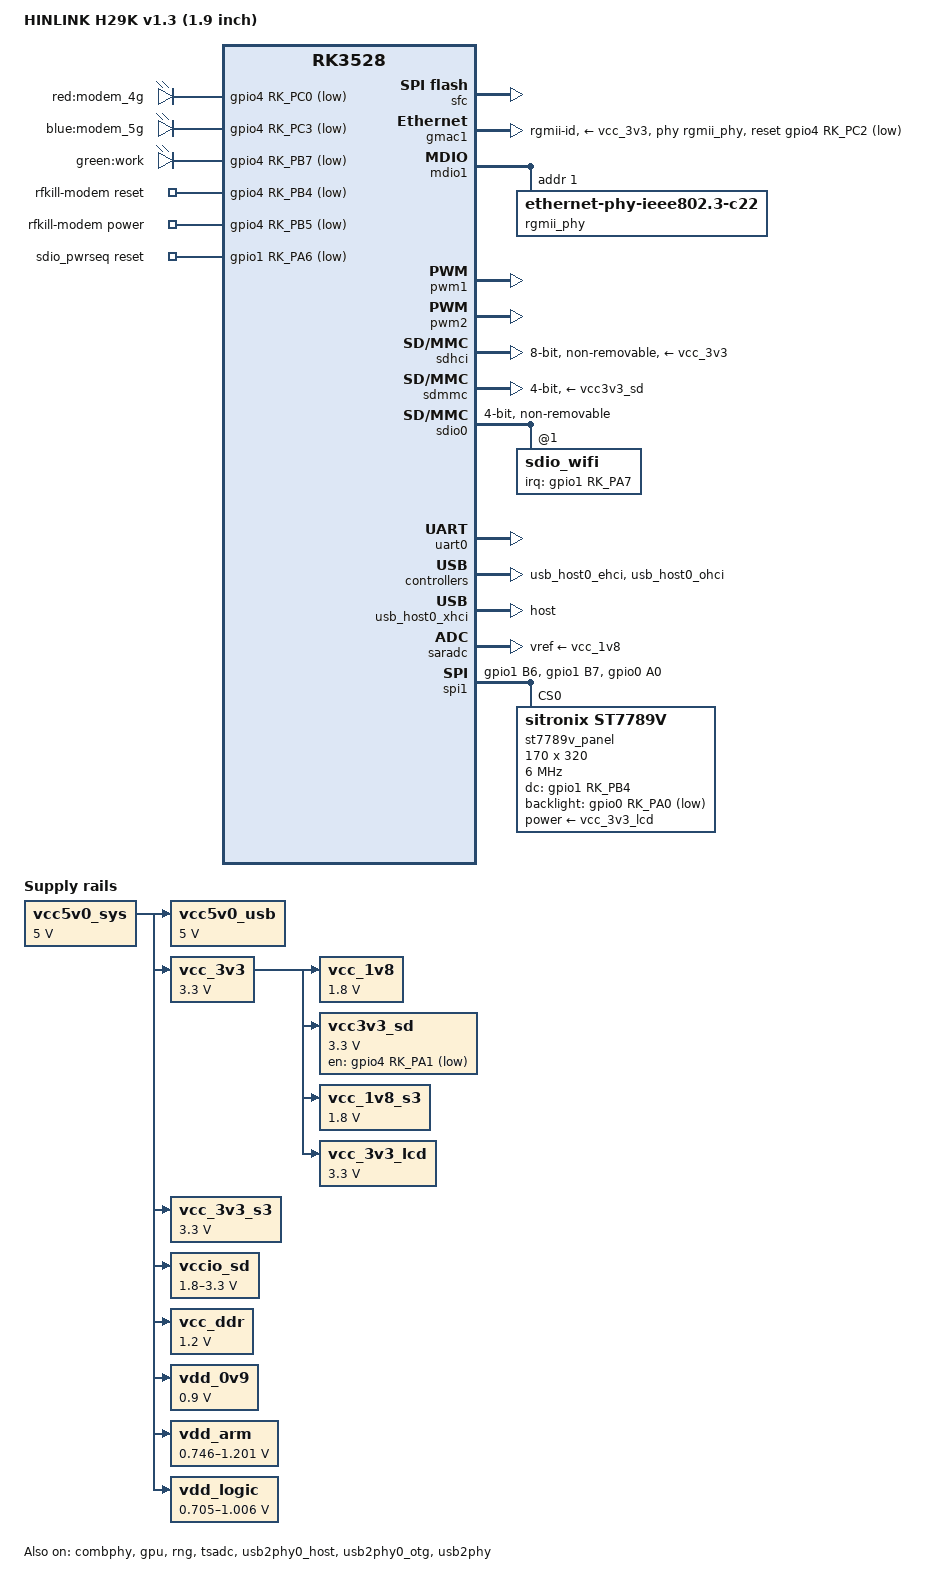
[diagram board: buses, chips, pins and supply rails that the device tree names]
// SPDX-License-Identifier: (GPL-2.0+ OR MIT)

/dts-v1/;
#include <dt-bindings/gpio/gpio.h>
#include <dt-bindings/pinctrl/rockchip.h>

#include "rk3528.dtsi"

/ {
	model = "HINLINK H29K v1.3 (1.9 inch)";
	// 屏幕: 1.9"  170x320 rot270
	// 屏幕: 1.9"  170x320
	compatible = "hinlink,h29k-v1.3", "rockchip,rk3528";

	aliases {
		mmc0 = &sdhci;
		mmc1 = &sdmmc;
		mmc2 = &sdio0;
		ethernet0 = &gmac1;

		led-boot = &led_work;
		led-failsafe = &led_work;
		led-running = &led_work;
		led-upgrade = &led_work;
	};

	chosen {
		stdout-path = "serial0:1500000n8";
	};

	leds {
		compatible = "gpio-leds";
		pinctrl-names = "default";
		pinctrl-0 = <&modem_4g_led>,<&modem_5g_led>, <&work_led_en>;

		modem_4g: modem_4g {
			label = "red:modem_4g";
			gpios = <&gpio4 RK_PC0 GPIO_ACTIVE_LOW>;
		};

		modem_5g: modem_5g {
			label = "blue:modem_5g";
			gpios = <&gpio4 RK_PC3 GPIO_ACTIVE_LOW>;
		};

		led_work: work {
			label = "green:work";
			gpios = <&gpio4 RK_PB7 GPIO_ACTIVE_LOW>;
		};
	};



	rfkill-modem {
		compatible = "rfkill-gpio";
		name = "rfkill-modem";
		type = "wwan";
		reset-gpios = <&gpio4 RK_PB4 GPIO_ACTIVE_LOW>;
		power-gpios = <&gpio4 RK_PB5 GPIO_ACTIVE_LOW>; 
	};


	vcc5v0_sys: vcc5v0-sys {
		compatible = "regulator-fixed";
		regulator-name = "vcc5v0_sys";
		regulator-always-on;
		regulator-boot-on;
		regulator-min-microvolt = <5000000>;
		regulator-max-microvolt = <5000000>;
	};
	
	vcc5v0_usb: vcc5v0-usb {
		compatible = "regulator-fixed";
		regulator-name = "vcc5v0_usb";
		regulator-always-on;
		regulator-boot-on;
		regulator-min-microvolt = <5000000>;
		regulator-max-microvolt = <5000000>;
		vin-supply = <&vcc5v0_sys>;
	};

	vcc_3v3: vcc-3v3 {
		compatible = "regulator-fixed";
		regulator-name = "vcc_3v3";
		regulator-always-on;
		regulator-boot-on;
		regulator-min-microvolt = <3300000>;
		regulator-max-microvolt = <3300000>;
		vin-supply = <&vcc5v0_sys>;
	};

	vcc_1v8: vcc-1v8 {
		compatible = "regulator-fixed";
		regulator-name = "vcc_1v8";
		regulator-always-on;
		regulator-boot-on;
		regulator-min-microvolt = <1800000>;
		regulator-max-microvolt = <1800000>;
		vin-supply = <&vcc_3v3>;
	};

	vcc3v3_sd: vcc3v3-sd {
		compatible = "regulator-fixed";
		gpio = <&gpio4 RK_PA1 GPIO_ACTIVE_LOW>;
		regulator-name = "vcc3v3_sd";
		regulator-always-on;
		regulator-boot-on;
		regulator-min-microvolt = <3300000>;
		regulator-max-microvolt = <3300000>;
		vin-supply = <&vcc_3v3>;
	};
	
	vcc_3v3_s3: vcc-3v3-s3 {
		compatible = "regulator-fixed";
		regulator-name = "vcc_3v3_s3";
		regulator-always-on;
		regulator-boot-on;
		regulator-min-microvolt = <3300000>;
		regulator-max-microvolt = <3300000>;
		vin-supply = <&vcc5v0_sys>;
	};

	vcc_1v8_s3: vcc-1v8-s3 {
		compatible = "regulator-fixed";
		regulator-name = "vcc_1v8_s3";
		regulator-always-on;
		regulator-boot-on;
		regulator-min-microvolt = <1800000>;
		regulator-max-microvolt = <1800000>;
		vin-supply = <&vcc_3v3>;
	};

	vcc_3v3_lcd: vcc-3v3-lcd {
		compatible = "regulator-fixed";
		regulator-name = "vcc_3v3_lcd";
		regulator-min-microvolt = <3300000>;
		regulator-max-microvolt = <3300000>;
		vin-supply = <&vcc_3v3>;
	};

	vccio_sd: vccio-sd {
		compatible = "regulator-gpio";
		gpios = <&gpio4 RK_PB6 GPIO_ACTIVE_HIGH>;
		regulator-name = "vccio_sd";
		regulator-min-microvolt = <1800000>;
		regulator-max-microvolt = <3300000>;
		states = <1800000 0x0>, <3300000 0x1>;
		vin-supply = <&vcc5v0_sys>;
	};

	vcc_ddr: vcc-ddr {
		compatible = "regulator-fixed";
		regulator-name = "vcc_ddr";
		regulator-always-on;
		regulator-boot-on;
		regulator-min-microvolt = <1200000>;
		regulator-max-microvolt = <1200000>;
		vin-supply = <&vcc5v0_sys>;
	};

	vdd_0v9: vdd-0v9 {
		compatible = "regulator-fixed";
		regulator-name = "vdd_0v9";
		regulator-always-on;
		regulator-boot-on;
		regulator-min-microvolt = <900000>;
		regulator-max-microvolt = <900000>;
		vin-supply = <&vcc5v0_sys>;
	};

	vdd_arm: vdd-arm {
		compatible = "pwm-regulator";
		pwms = <&pwm1 0 5000 1>;
		regulator-name = "vdd_arm";
		regulator-min-microvolt = <746000>;
		regulator-max-microvolt = <1201000>;
		regulator-always-on;
		regulator-boot-on;
		regulator-settling-time-up-us = <250>;
		pwm-supply = <&vcc5v0_sys>;
	};

	vdd_logic: vdd-logic {
		compatible = "pwm-regulator";
		pwms = <&pwm2 0 5000 1>;
		regulator-name = "vdd_logic";
		regulator-min-microvolt = <705000>;
		regulator-max-microvolt = <1006000>;
		regulator-always-on;
		regulator-boot-on;
		regulator-settling-time-up-us = <250>;
		pwm-supply = <&vcc5v0_sys>;
	};

	sdio_pwrseq: sdio-pwrseq {
		compatible = "mmc-pwrseq-simple";
		pinctrl-names = "default";
		pinctrl-0 = <&wifi_enable_h>;
		reset-gpios = <&gpio1 RK_PA6 GPIO_ACTIVE_LOW>;
	};
};

&combphy {
	status = "okay";
};

&cpu0 {
	cpu-supply = <&vdd_arm>;
};

&cpu1 {
	cpu-supply = <&vdd_arm>;
};

&cpu2 {
	cpu-supply = <&vdd_arm>;
};

&cpu3 {
	cpu-supply = <&vdd_arm>;
};

&sfc {
	status = "okay";
};

&gmac1 {
	clock_in_out = "output";
	pinctrl-names = "default";
	pinctrl-0 = <&rgmii_miim
		     &rgmii_tx_bus2
		     &rgmii_rx_bus2
		     &rgmii_rgmii_clk
		     &rgmii_rgmii_bus>;
	phy-handle = <&rgmii_phy>;
	phy-mode = "rgmii-id";
	phy-supply = <&vcc_3v3>;
	snps,reset-active-low;
	snps,reset-delays-us = <0 20000 100000>;
	snps,reset-gpio = <&gpio4 RK_PC2 GPIO_ACTIVE_LOW>;
	status = "okay";
};

&gpu {
	mali-supply = <&vdd_logic>;
	status = "okay";
};

&mdio1 {
	rgmii_phy: phy@1 {
		compatible = "ethernet-phy-ieee802.3-c22";
		reg = <0x1>;
	};
};

&pinctrl {
	leds {

		work_led_en: led-work-en {
			rockchip,pins = <4 RK_PB7 RK_FUNC_GPIO &pcfg_pull_none>;
		};

		modem_4g_led: modem_4g_led{
			rockchip,pins = <4 RK_PC0 RK_FUNC_GPIO &pcfg_pull_none>;
		};

		modem_5g_led: modem_5g_led{
			rockchip,pins = <4 RK_PC3 RK_FUNC_GPIO &pcfg_pull_none>;
		};
	};
	
	wifi {
		wifi_enable_h: wifi-enable-h {
			rockchip,pins = <1 RK_PA6 RK_FUNC_GPIO &pcfg_pull_none>;
		};

		wifi_host_wake: wifi-host-wake {
			rockchip,pins = <1 RK_PA7 RK_FUNC_GPIO &pcfg_pull_down>;
		};
	};

	bluetooth {
		bt_enable_h: bt-enable-h {
			rockchip,pins = <1 RK_PC1 RK_FUNC_GPIO &pcfg_pull_down>;
		};

		uart2m1_gpios: uart2m1-gpios {
			rockchip,pins = <1 RK_PB2 RK_FUNC_GPIO &pcfg_pull_none>;
		};
	};

	lcd {
		lcd_dc_pin: lcd-dc-pin {
			rockchip,pins = <1 RK_PB4 RK_FUNC_GPIO &pcfg_pull_up_drv_level_6>;
		};
		
		spi1_custom_pins: spi4-custom-pins {
			rockchip,pins =
				/* spi1_clk_m2 */
				<1 RK_PB6 2 &pcfg_pull_none_drv_level_2>,
				/* spi1_mosi_m2 */
				<1 RK_PB7 2 &pcfg_pull_none_drv_level_2>;
		};

		lcd_backlight_pin: lcd-backlight-pin {
            rockchip,pins = <0 RK_PA0 RK_FUNC_GPIO &pcfg_pull_up>;  // 背光引脚
        };
	};
    
};


&pwm1 {
	status = "okay";
};

&pwm2 {
	status = "okay";
};

&rng {
	status = "okay";
};

&sdhci {
	bus-width = <8>;
	mmc-hs200-1_8v;
	max-frequency = <200000000>;
	non-removable;
	pinctrl-names = "default";
	pinctrl-0 = <&emmc_bus8 &emmc_clk &emmc_cmd &emmc_strb>;
	vmmc-supply = <&vcc_3v3>;
	vqmmc-supply = <&vcc_1v8>;
	status = "okay";
};


&sdmmc {
	bus-width = <4>;
	cap-sd-highspeed;
	disable-wp;
	max-frequency = <150000000>;
	pinctrl-names = "default";
	pinctrl-0 = <&sdmmc_bus4 &sdmmc_clk &sdmmc_cmd &sdmmc_det>;
	rockchip,default-sample-phase = <90>;
	sd-uhs-sdr12;
	sd-uhs-sdr25;
	sd-uhs-sdr50;
	sd-uhs-sdr104;
	vmmc-supply = <&vcc3v3_sd>;
	vqmmc-supply = <&vccio_sd>;
	status = "okay";
};

&sdio0 {
	#address-cells = <1>;
	#size-cells = <0>;
	bus-width = <4>;
	cap-sd-highspeed;
	cap-sdio-irq;
	keep-power-in-suspend;
	max-frequency = <200000000>;
	mmc-pwrseq = <&sdio_pwrseq>;
	pinctrl-names = "default";
	pinctrl-0 = <&sdio0_bus4 &sdio0_cmd &sdio0_clk>;
	post-power-on-delay-ms = <50>;
	non-removable;
	sd-uhs-sdr104;
	status = "okay";

	sdio_wifi@1 {

		reg = <1>;
		interrupt-parent = <&gpio1>;
		interrupts = <RK_PA7 IRQ_TYPE_LEVEL_HIGH>;
		interrupt-names = "host-wake";
		pinctrl-names = "default";
		pinctrl-0 = <&wifi_host_wake>;
	};
};

&tsadc {
	status = "okay";
};

&uart0 {
	pinctrl-names = "default";
	pinctrl-0 = <&uart0m0_xfer>;
	status = "okay";
};

&usb2phy0_host {
	phy-supply = <&vcc5v0_sys>;
	status = "okay";
};

&usb2phy0_otg {
	phy-supply = <&vcc5v0_sys>;
	vbus-supply = <&vcc_3v3>;
	status = "okay";
};

&usb2phy {
	status = "okay";
};

// &usbdrd30 {
//	status = "okay";
// };

// &usbdrd_dwc3 {
// 	dr_mode = "host";
// 	status = "okay";
// };

&usb_host0_ehci {
	status = "okay";
};

&usb_host0_ohci {
	status = "okay";
};

&usb_host0_xhci {
	dr_mode = "host";
	status = "okay";
};

&saradc {
    compatible = "rockchip,rk3528-saradc";
	vref-supply = <&vcc_1v8>;
	status = "okay";
};



&spi1 {  
	#address-cells = <1>;  
	#size-cells = <0>;  
	assigned-clocks = <&cru CLK_SPI1>;  
	assigned-clock-rates = <200000000>;  
	num-cs = <1>; 
	pinctrl-names = "default"; 
	pinctrl-0 = <&spi1_custom_pins &lcd_backlight_pin>; 
	status = "okay"; 

	st7789v_panel: panel@0 {  
		compatible = "sitronix,st7789v";  
		reg = <0>;  
		power-supply = <&vcc_3v3_lcd>;  

		pinctrl-names = "default";  
		pinctrl-0 = <&lcd_dc_pin>;  
		dc-gpios = <&gpio1 RK_PB4 GPIO_ACTIVE_HIGH>; 
		backlight-gpios = <&gpio0 RK_PA0 GPIO_ACTIVE_LOW>;  


        spi-max-frequency = <6000000>;  

		width = <170>;  
		height = <320>; 

		buswidth = <8>;  
		rotate = <270>;  
		
		
		debug = <0>;  
		spi-cpol;  
		spi-cpha;  
		
	};
};

 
